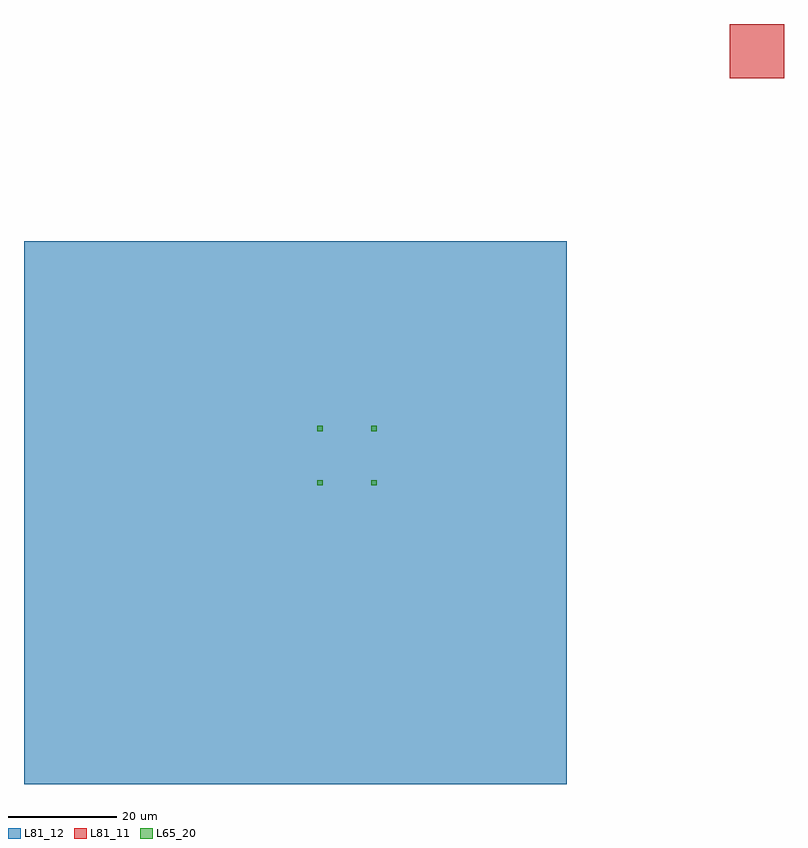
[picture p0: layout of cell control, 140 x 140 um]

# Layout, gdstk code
from math import pi, radians
import gdstk
lib = gdstk.Library(unit=1e-6, precision=1e-09)
def R(c, l, rs):  # rectangles x0, y0, x1, y1
    for r in rs: c.add(gdstk.rectangle(r[:2], r[2:], *l))
L65_20 = (65, 20)
L81_11 = (81, 11)
L81_12 = (81, 12)

child = lib.new_cell('child')
R(child, L65_20, [(0,0,1,1)])

control = lib.new_cell('control')
R(control, L81_11, [(80,80,90,90)])
R(control, L81_12, [(-50,-50,50,50)])
r = gdstk.Reference(child, (15,5), rotation=pi, x_reflection=True); r.repetition = gdstk.Repetition(2, 2, v1=(-10,0), v2=(0,10)); control.add(r)

lib.write_gds('control.gds')
